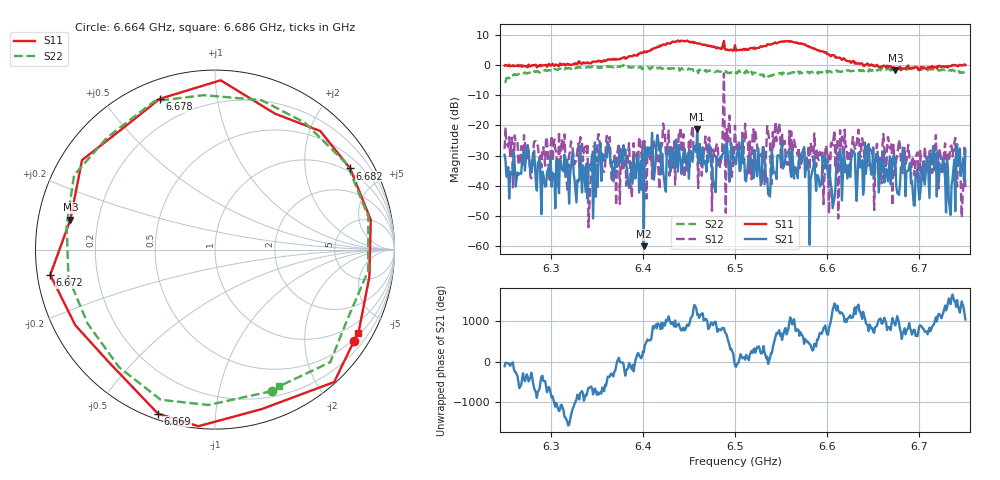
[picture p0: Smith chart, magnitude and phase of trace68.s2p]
# Hz S RI R 50
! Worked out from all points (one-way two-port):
!   401 points, 6.25 GHz to 6.75 GHz, reference 50 ohm
!   highest |S21| = -21.29 dB at 6.459 GHz (marker M1); lowest = -60.1 dB at 6.401 GHz (marker M2)
!   lowest |S11| = -1.7 dB at 6.674 GHz (marker M3), VSWR 10.30, Z = 4.91 + j5.09 ohm
!   |S11| at or under -10 dB: nowhere
!   |S22| runs from -5.6 to 0.0 dB; largest |S21 - S12| = 0.74
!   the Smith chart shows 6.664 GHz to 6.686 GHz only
!   S11 on the Smith chart (normalised r, x): 6.664 GHz: 0.46, -3.29; 6.669 GHz: 0.02, -0.71; 6.672 GHz: 0.04, -0.08; 6.678 GHz: 0.08, +0.70; 6.682 GHz: 0.86, +3.41; 6.686 GHz: 0.56, -3.62
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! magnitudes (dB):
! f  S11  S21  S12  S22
! 6.25 GHz  -0.1  -29.7  -27.8  -5.6
! 6.334 GHz  0.5  -42.3  -25.1  -0.8
! 6.344 GHz  0.7  -32.4  -34.2  -0.7
! 6.352 GHz  1.6  -29.5  -22.8  -1.0
! 6.401 GHz  4.2  -60.1  -32.7  -0.8
! 6.418 GHz  6.1  -28.3  -41.2  -0.8
! 6.422 GHz  6.9  -35.0  -19.3  -1.1
! 6.459 GHz  7.3  -21.3  -24.3  -1.4
! 6.5 GHz  6.6  -32.6  -20.1  -2.3
! 6.572 GHz  7.1  -29.3  -33.4  -2.5
! 6.584 GHz  5.7  -35.0  -29.2  -2.2
! 6.664 GHz  -0.7  -34.5  -36.2  -1.4
! 6.668 GHz  -0.1  -30.2  -27.4  -1.5
! 6.669 GHz  -0.3  -39.6  -27.8  -1.7
! 6.672 GHz  -0.6  -30.1  -26.5  -1.0
! 6.674 GHz  -1.7  -31.0  -36.5  -1.2
! 6.678 GHz  -1.0  -43.1  -24.7  -1.2
! 6.682 GHz  -1.1  -27.3  -35.8  -1.3
! 6.686 GHz  -0.7  -35.3  -32.0  -1.5
! 6.715 GHz  -0.8  -26.8  -30.2  -1.4
! 6.736 GHz  0.1  -37.9  -30.3  -1.5
! 6.75 GHz  0.1  -28.1  -41.4  -2.3
